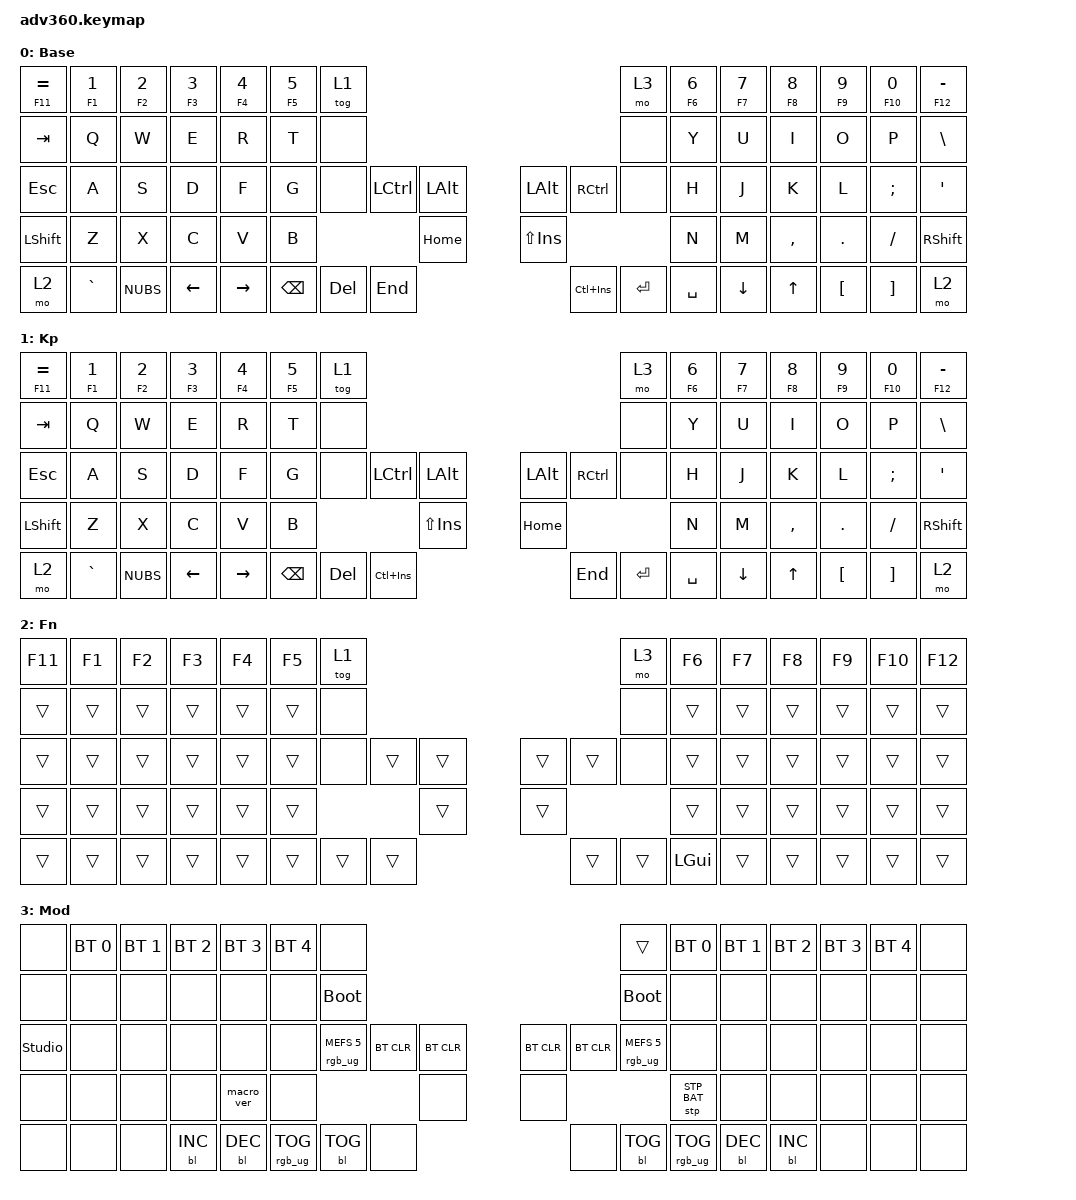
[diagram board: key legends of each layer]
#include <behaviors.dtsi>
#include <dt-bindings/zmk/keys.h>
#include <dt-bindings/zmk/bt.h>
#include <dt-bindings/zmk/rgb.h>
#include <dt-bindings/zmk/stp.h>
#include <dt-bindings/zmk/backlight.h>
#include <dt-bindings/zmk/pointing.h>

/ {
    behaviors {
      #include "macros.dtsi"
      #include "version.dtsi"

      hm: homerow_mods {
          compatible = "zmk,behavior-hold-tap";
          label = "HOMEROW_MODS";
          #binding-cells = <2>;
          tapping-term-ms = <200>;
          quick_tap_ms = <175>;
          flavor = "tap-preferred";
          bindings = <&kp>, <&kp>;
      };
      
      /*
      * Holding a NUM invokes the Fn Key - but not ONLY if there's NO key press for <125>ms!
      * https://zmk.dev/docs/behaviors/hold-tap#global-quick-tap
      */
      gqt: global-quick-tap {
          compatible      = "zmk,behavior-hold-tap";
          label           = "GLOBAL_QUICK_TAP";
          #binding-cells  = <2>;
          flavor          = "tap-preferred";
          tapping-term-ms = <300>;
          quick-tap-ms    = <125>;
          global-quick-tap;
          bindings        = <&kp>, <&kp>;
      };
    };

  keymap {
    compatible = "zmk,keymap";

    default_layer {
      display-name = "Base";
      bindings = <
        &gqt F11 EQUAL &gqt F1 N1 &gqt F2 N2 &gqt F3 N3 &gqt F4 N4 &gqt F5 N5 &tog 1                                                                            &mo 3 &gqt F6 N6 &gqt F7 N7 &gqt F8 N8 &gqt F9 N9 &gqt F10 N0 &gqt F12 MINUS
        &kp TAB        &kp Q      &kp W      &kp E      &kp R      &kp T      &none                                                                             &none &kp Y      &kp U      &kp I      &kp O      &kp P       &kp BSLH
        &kp ESC        &kp A      &kp S      &kp D      &kp F      &kp G      &none          &kp LCTRL &kp LALT             &kp LALT       &kp RCTRL            &none &kp H      &kp J      &kp K      &kp L      &kp SEMI    &kp SQT
        &kp LSHFT      &kp Z      &kp X      &kp C      &kp V      &kp B                               &kp HOME             &kp LS(INSERT)                            &kp N      &kp M      &kp COMMA  &kp DOT    &kp FSLH    &kp RSHFT
        &mo 2          &kp GRAVE  &kp NUBS   &kp LEFT   &kp RIGHT                   &kp BSPC &kp DEL   &kp END              &kp LC(INSERT) &kp ENTER &kp SPACE                   &kp DOWN   &kp UP     &kp LBKT   &kp RBKT    &mo 2
      >;
    };
    
    /* 
     * Pressing the KP Key toggles the keypad to right-hand use, with HOME/END switched with COPY/PASTE
     */
    keypad {
      display-name = "Kp";
      bindings = <
        &gqt F11 EQUAL &gqt F1 N1 &gqt F2 N2 &gqt F3 N3 &gqt F4 N4 &gqt F5 N5 &tog 1                                                                            &mo 3 &gqt F6 N6 &gqt F7 N7 &gqt F8 N8 &gqt F9 N9 &gqt F10 N0 &gqt F12 MINUS
        &kp TAB        &kp Q      &kp W      &kp E      &kp R      &kp T      &none                                                                             &none &kp Y      &kp U      &kp I      &kp O      &kp P       &kp BSLH
        &kp ESC        &kp A      &kp S      &kp D      &kp F      &kp G      &none          &kp LCTRL &kp LALT                   &kp LALT &kp RCTRL            &none &kp H      &kp J      &kp K      &kp L      &kp SEMI    &kp SQT
        &kp LSHFT      &kp Z      &kp X      &kp C      &kp V      &kp B                               &kp LS(INSERT)             &kp HOME                            &kp N      &kp M      &kp COMMA  &kp DOT    &kp FSLH    &kp RSHFT
        &mo 2          &kp GRAVE  &kp NUBS   &kp LEFT   &kp RIGHT                   &kp BSPC &kp DEL   &kp LC(INSERT)             &kp END  &kp ENTER &kp SPACE                   &kp DOWN   &kp UP     &kp LBKT   &kp RBKT    &mo 2
      >;
    };
    
    /* 
     * Holding the FN Key toggles Func Key presses (F1 - F12)
     * FN + SPACE == Windows (LGUI)
     */
    fn {
      display-name = "Fn";
      bindings = <
        &kp F11 &kp F1 &kp F2 &kp F3 &kp F4 &kp F5 &tog 1                                                        &mo 3 &kp F6 &kp F7 &kp F8 &kp F9  &kp F10 &kp F12
        &trans &trans &trans &trans &trans &trans  &none                                                         &none &trans &trans &trans &trans  &trans  &trans
        &trans &trans &trans &trans &trans &trans  &none        &trans &trans             &trans &trans          &none &trans &trans &trans &trans  &trans  &trans
        &trans &trans &trans &trans &trans &trans                      &trans             &trans                       &trans &trans &trans &trans  &trans  &trans
        &trans &trans &trans &trans &trans               &trans &trans &trans             &trans &trans &kp LGUI              &trans &trans &trans  &trans  &trans
      >;
    };
    mod {
      display-name = "Mod";
      bindings = <
        &none          &bt BT_SEL 0 &bt BT_SEL 1 &bt BT_SEL 2 &bt BT_SEL 3 &bt BT_SEL 4 &none                                                                                                  &trans                 &bt BT_SEL 0 &bt BT_SEL 1 &bt BT_SEL 2 &bt BT_SEL 3 &bt BT_SEL 4 &none
        &none          &none        &none        &none        &none        &none        &bootloader                                                                                            &bootloader            &none        &none        &none        &none        &none        &none
        &studio_unlock &none        &none        &none        &none        &none        &rgb_ug RGB_MEFS_CMD 5                 &bt BT_CLR &bt BT_CLR     &bt BT_CLR &bt BT_CLR                 &rgb_ug RGB_MEFS_CMD 5 &none        &none        &none        &none        &none        &none
        &none          &none        &none        &none        &macro_ver   &none                                                          &none          &none                                                        &stp STP_BAT &none        &none        &none        &none        &none
        &none          &none        &none        &bl BL_INC   &bl BL_DEC                                       &rgb_ug RGB_TOG &bl BL_TOG &none          &none      &bl BL_TOG &rgb_ug RGB_TOG                                     &bl BL_DEC   &bl BL_INC   &none        &none        &none
      >;
    };
    extra1 { 
      display-name = "Red";    
      status = "reserved";
    };

    extra2 { 
      display-name = "Purple";    
      status = "reserved";
    };

    extra3 { 
      display-name = "Cyan";    
      status = "reserved";
    };

    extra4 { 
      display-name = "Yellow";    
      status = "reserved";
    };
  };
};
